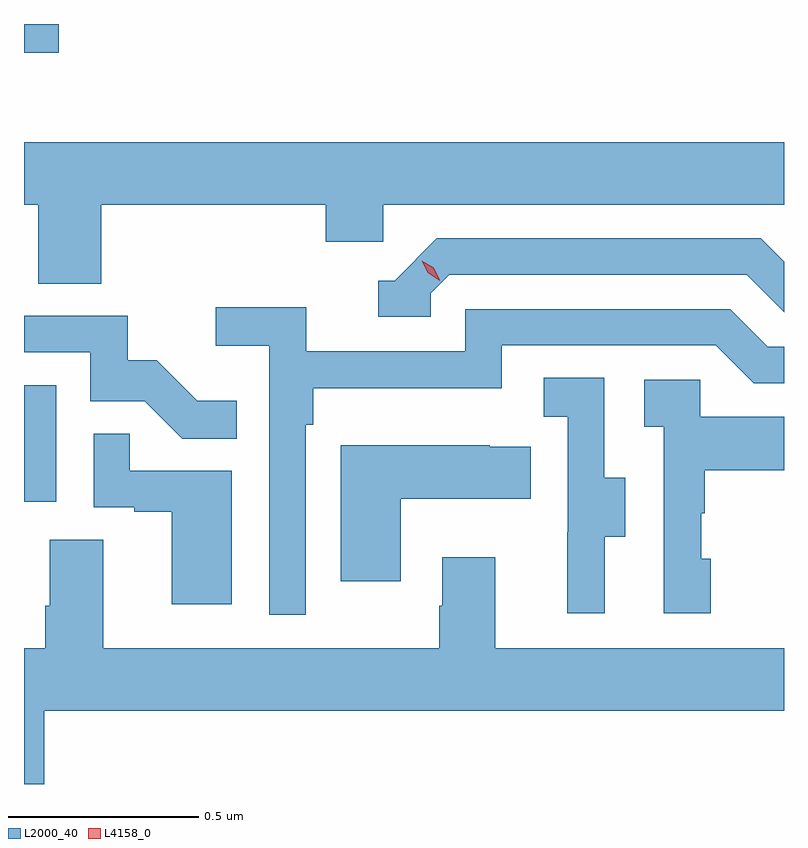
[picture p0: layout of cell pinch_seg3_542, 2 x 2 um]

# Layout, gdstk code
import gdstk
lib = gdstk.Library(unit=1e-6, precision=1e-09)
def R(c, l, rs):  # rectangles x0, y0, x1, y1
    for r in rs: c.add(gdstk.rectangle(r[:2], r[2:], *l))
def P(c, l, *ps):  # polygons
    for p in ps: c.add(gdstk.Polygon(p, *l))
L2000_40 = (2000, 40)
L4158_0 = (4158, 0)

pinch_seg3_542 = lib.new_cell('pinch_seg3_542')
R(pinch_seg3_542, L2000_40, [(1130.211,692.142,1130.296,692.449), (1130.211,693.324,1130.302,693.399)])
P(pinch_seg3_542, L2000_40, [(1130.414,692.924),(1131.005,692.924),(1131.005,692.826),(1131.156,692.826),(1131.156,692.924),(1132.211,692.924),(1132.211,693.088),(1130.211,693.088),(1130.211,692.924),(1130.249,692.924),(1130.249,692.716),(1130.414,692.716)],
  [(1131.282,692.691),(1131.33,692.739),(1132.113,692.739),(1132.211,692.641),(1132.211,692.774),(1132.15,692.835),(1131.297,692.835),(1131.186,692.724),(1131.143,692.724),(1131.143,692.628),(1131.282,692.628)],
  [(1130.952,692.345),(1130.972,692.345),(1130.972,692.441),(1131.468,692.441),(1131.468,692.553),(1132.032,692.553),(1132.131,692.454),(1132.211,692.454),(1132.211,692.55),(1132.168,692.55),(1132.069,692.649),(1131.372,692.649),(1131.372,692.538),(1130.954,692.538),(1130.954,692.654),(1130.715,692.654),(1130.715,692.552),(1130.856,692.552),(1130.856,691.845),(1130.952,691.845)],
  [(1130.771,692.407),(1130.667,692.407),(1130.56,692.514),(1130.484,692.514),(1130.484,692.631),(1130.211,692.631),(1130.211,692.535),(1130.385,692.535),(1130.385,692.406),(1130.529,692.406),(1130.627,692.308),(1130.771,692.308)],
  [(1131.739,692.05),(1131.793,692.05),(1131.793,692.205),(1131.738,692.205),(1131.738,692.468),(1131.579,692.468),(1131.579,692.365),(1131.642,692.365),(1131.642,692.061),(1131.641,692.061),(1131.641,691.848),(1131.739,691.848)],
  [(1132.018,691.992),(1131.993,691.992),(1131.993,692.111),(1132.003,692.111),(1132.003,692.225),(1132.211,692.225),(1132.211,692.365),(1131.99,692.365),(1131.99,692.463),(1131.843,692.463),(1131.843,692.339),(1131.894,692.339),(1131.894,691.848),(1132.018,691.848)],
  [(1130.758,692.223),(1130.489,692.223),(1130.489,692.321),(1130.394,692.321),(1130.394,692.127),(1130.501,692.127),(1130.501,692.115),(1130.6,692.115),(1130.6,691.872),(1130.758,691.872)],
  [(1131.202,692.15),(1131.545,692.15),(1131.545,692.287),(1131.437,692.287),(1131.437,692.29),(1131.044,692.29),(1131.044,691.932),(1131.202,691.932)],
  [(1130.264,691.592),(1132.211,691.592),(1132.211,691.756),(1131.451,691.756),(1131.451,691.996),(1131.311,691.996),(1131.311,691.868),(1131.304,691.868),(1131.304,691.756),(1130.419,691.756),(1130.419,692.042),(1130.279,692.042),(1130.279,691.868),(1130.267,691.868),(1130.267,691.756),(1130.211,691.756),(1130.211,691.399),(1130.264,691.399)])
P(pinch_seg3_542, L4158_0, [(1131.305,692.724),(1131.274,692.744),(1131.258,692.776),(1131.258,692.776),(1131.258,692.776),(1131.289,692.757),(1131.305,692.725),(1131.305,692.724)])

lib.write_gds('pinch_seg3_542.gds')
